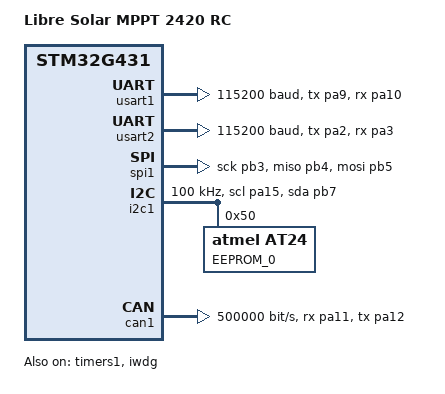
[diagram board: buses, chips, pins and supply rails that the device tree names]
/*
 * Copyright (c) The Libre Solar Project Contributors
 *
 * SPDX-License-Identifier: Apache-2.0
 */

/dts-v1/;
#include <st/g4/stm32g431Xb.dtsi>
#include <st/g4/stm32g431c(6-8-b)tx-pinctrl.dtsi>

/ {
	model = "Libre Solar MPPT 2420 RC";
	compatible = "st,stm32g431";

	pcb {
		compatible = "charge-controller";

		type = "MPPT 2420 RC";
		version-str = "v0.1";
		version-num = <1>;

		hs-voltage-max = <80>;
		ls-voltage-max = <32>;
		dcdc-current-max = <20>;
	};

	chosen {
		zephyr,console = &usart1;
		zephyr,shell-uart = &usart1;
		zephyr,sram = &sram0;
		zephyr,flash = &flash0;
	};

	leds {
		compatible = "charlieplexing-leds";
		gpios = <&gpiob 15 GPIO_ACTIVE_HIGH>;

		pwr {
			states = <1>;
		};
	};

	outputs {
		compatible = "outputs";

		can_en {
			label = "CAN disable / standby";
			gpios = <&gpiob 14 GPIO_ACTIVE_LOW>;
		};

		hv-out {
			label = "HV output sense and enable switch";
			gpios = <&gpiob 12 GPIO_ACTIVE_LOW>;
		};
	};

	adc-inputs {
		compatible = "adc-inputs";

		v-low {
			io-channels = <&adc1 12>;
			multiplier = <105600>;
			divider = <5600>;
		};

		v-high {
			io-channels = <&adc1 15>;
			multiplier = <102200>;
			divider = <2200>;
		};

		hv-ext-sense {
			io-channels = <&adc1 11>;
			multiplier = <1>;
			divider = <1>;
		};

		temp-fets {
			io-channels = <&adc1 2>;
			multiplier = <10000>;	// 10k NTC series resistor
			divider = <1>;
		};

		temp-bat {
			io-channels = <&adc1 14>;
			multiplier = <10000>;	// 10k NTC series resistor
			divider = <1>;
		};

		vref-mcu {
			io-channels = <&adc1 18>;
			multiplier = <1>;
			divider = <1>;
		};

		temp-mcu {
			io-channels = <&adc1 16>;
			multiplier = <1>;
			divider = <1>;
		};

		i-dcdc {
			io-channels = <&adc2 1>;
			// amp gain: 68/2.2, resistor: 2 mOhm
			multiplier = <2200>;	// 1000*2.2
			divider = <136>;	// 2*68
		};
	};

	aliases {
		uart-dbg = &usart1;
		uart-uext = &usart2;
		spi-uext = &spi1;
		i2c-uext = &i2c1;
	};
};

&usart1 {
	pinctrl-0 = <&usart1_tx_pa9 &usart1_rx_pa10>;
	current-speed = <115200>;
	status = "okay";
};

&usart2 {
	pinctrl-0 = <&usart2_tx_pa2 &usart2_rx_pa3>;
	current-speed = <115200>;
	status = "okay";
};

&spi1 {
	pinctrl-0 = <&spi1_sck_pb3 &spi1_miso_pb4 &spi1_mosi_pb5>;
	cs-gpios = <&gpiob 6 GPIO_ACTIVE_LOW>;
	status = "okay";
};

&timers1 {
	status = "okay";

	halfbridge {
		compatible = "half-bridge";
		pinctrl-0 = <&tim1_ch1_pa8 &tim1_ch1n_pb13>;
		frequency = <70000>;
		deadtime = <300>;
	};
};

&flash0 {
	/*
	 * For more information, see:
	 * http://docs.zephyrproject.org/latest/guides/dts/index.html#flash-partitions
	 */
	partitions {
		compatible = "fixed-partitions";
		#address-cells = <1>;
		#size-cells = <1>;

		/* Set 4Kb of storage at the end of the 128Kb of flash */
		storage_partition: partition@1f000 {
			label = "storage";
			reg = <0x0001f000 0x00001000>;
		};
	};
};

&iwdg {
	status = "okay";
};

&i2c1 {
	/* shared between UEXT and EEPROM */
	status = "okay";
	pinctrl-0 = <&i2c1_scl_pa15 &i2c1_sda_pb7>;
	clock-frequency = <I2C_BITRATE_STANDARD>;
	eeprom@50 {
		// Microchip 24AA32A
		compatible = "atmel,at24";
		reg = <0x50>;
		label = "EEPROM_0";
		size = <32768>;
		pagesize = <32>;
		address-width = <16>;
		/*
		 * timeout of 5 ms as suggested in datasheet seems too optimistic
		 * (several write errors occured during testing)
		 */
		timeout = <7>;
	};
};

&can1 {
	pinctrl-0 = <&fdcan1_rx_pa11 &fdcan1_tx_pa12>;
	bus-speed = <500000>;
	bus-speed-data = <500000>;
	sjw = <1>;
	sjw-data = <1>;
	sample-point = <875>;
	sample-point-data = <875>;
	status = "okay";
};
